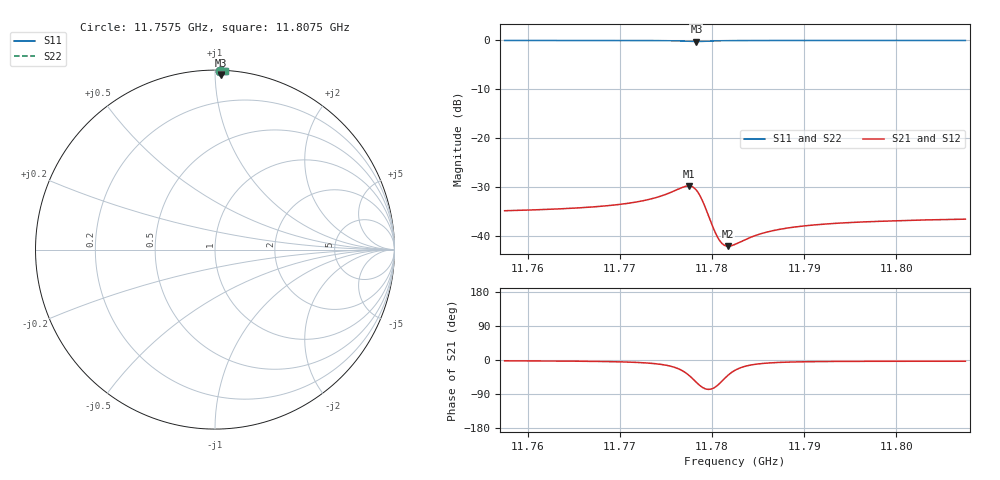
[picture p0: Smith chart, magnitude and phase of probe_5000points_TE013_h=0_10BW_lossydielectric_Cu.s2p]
! TOUCHSTONE file generated by CST MICROWAVE STUDIO
! Date and time: Wed Feb 24 10:54:48 2021
! Project name: h=5.58_TE013.cst
! Parameters = {bD=17; cp=1; h=5.58; hl=0; icl=0.1; inD=0.51; oD=2.2; rD=4; tD=1.68; vD=11}
! Header version: 2018
! Port assignment regex: !\s*Touchstone port\s*([0-9]+)\s*=\s*(CST MWS port|CST DS port)\s*([0-9]+|Zmin|Zmax)\s*\(\"(.*)\"\)(\s*mode\s*([0-9]+))?.*
! Touchstone port assignment:
! Touchstone port 1 = CST MWS port 1 ("")
! Touchstone port 2 = CST MWS port 2 ("")
# GHz S MA R 50
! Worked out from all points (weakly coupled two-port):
!   5001 points, 11.7575 GHz to 11.8075 GHz, reference 50 ohm
!   highest |S21| = -29.82 dB at 11.7775 GHz (marker M1); lowest = -42.2 dB at 11.7818 GHz (marker M2)
!   lowest |S11| = -0.2 dB at 11.7783 GHz (marker M3), VSWR 73.69, Z = 1.41 + j51.8 ohm
!   |S11| at or under -10 dB: nowhere
!   |S22| runs from -0.2 to 0.0 dB; largest |S21 - S12| = 0.00013
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11.7575  0.9975 88.5  0.01799 -2.1  0.018 -2.1  0.9974 88.3
11.76584  0.9971 88.2  0.01932 -3.3  0.01933 -3.3  0.9971 88.0
11.77079  0.9964 87.9  0.02136 -5.4  0.02137 -5.4  0.9964 87.7
11.77263  0.9955 87.8  0.02288 -7.4  0.02288 -7.4  0.9955 87.6
11.77417  0.994 87.6  0.02491 -10.6  0.02491 -10.6  0.994 87.4
11.77684  0.9836 87.3  0.03133 -29.0  0.03132 -29.0  0.9835 87.1
11.77747  0.978 87.4  0.03228 -39.8  0.03226 -39.8  0.9779 87.2
11.77791  0.9744 87.7  0.03154 -49.3  0.03149 -49.5  0.9745 87.5
11.77832  0.9732 88.0  0.02913 -59.3  0.02915 -59.3  0.9732 87.8
11.77863  0.974 88.2  0.02635 -66.2  0.02635 -66.2  0.974 88.0
11.77897  0.9763 88.4  0.02273 -72.3  0.02273 -72.3  0.9763 88.2
11.78016  0.9865 88.6  0.01187 -74.3  0.01187 -74.3  0.9864 88.4
11.78065  0.9892 88.6  0.009484 -65.9  0.009484 -65.9  0.9892 88.4
11.78118  0.9914 88.5  0.008172 -53.4  0.008172 -53.4  0.9914 88.3
11.78176  0.993 88.4  0.007798 -39.9  0.007798 -39.9  0.993 88.2
11.7825  0.9943 88.3  0.008135 -27.1  0.008135 -27.1  0.9943 88.1
11.78437  0.996 88.2  0.009756 -12.6  0.009753 -12.6  0.996 87.9
11.78602  0.9966 88.0  0.01091 -8.1  0.0109 -8.1  0.9966 87.8
11.78815  0.997 87.9  0.01194 -5.6  0.01194 -5.6  0.997 87.7
11.79084  0.9973 87.8  0.0128 -4.4  0.0128 -4.4  0.9973 87.6
11.79917  0.9975 87.4  0.01414 -3.2  0.01412 -3.4  0.9975 87.2
11.8075  0.9976 87.1  0.01474 -3.4  0.01473 -3.4  0.9976 86.9
